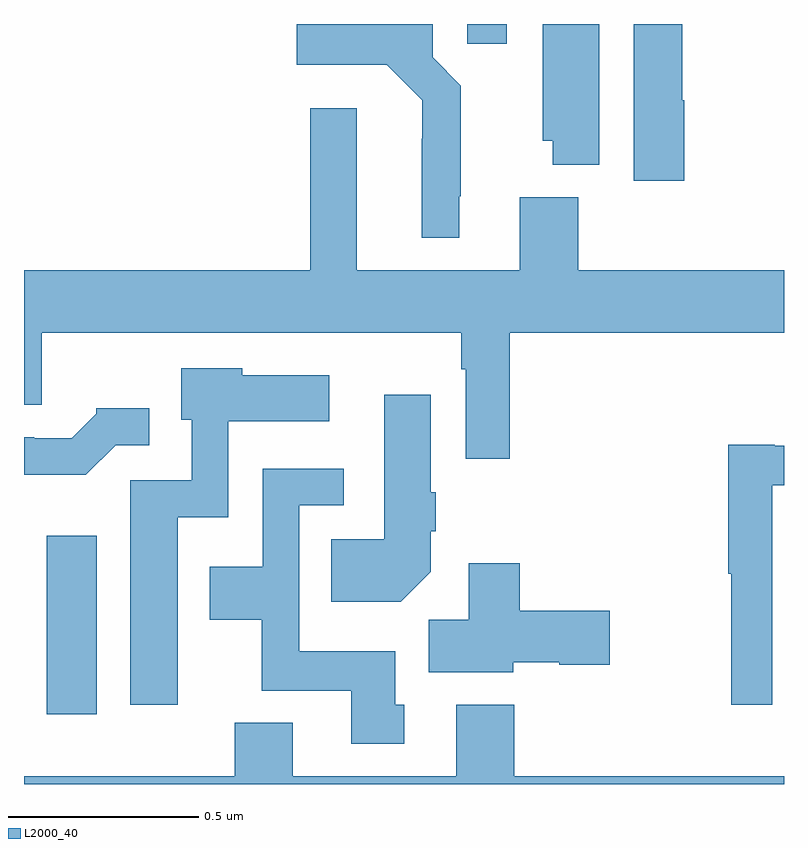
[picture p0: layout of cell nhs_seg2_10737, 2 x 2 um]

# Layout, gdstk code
import gdstk
lib = gdstk.Library(unit=1e-6, precision=1e-09)
def R(c, l, rs):  # rectangles x0, y0, x1, y1
    for r in rs: c.add(gdstk.rectangle(r[:2], r[2:], *l))
def P(c, l, *ps):  # polygons
    for p in ps: c.add(gdstk.Polygon(p, *l))
L2000_40 = (2000, 40)

nhs_seg2_10737 = lib.new_cell('nhs_seg2_10737')
R(nhs_seg2_10737, L2000_40, [(245.06,627.984,245.191,628.453), (246.167,629.748,246.271,629.8)])
P(nhs_seg2_10737, L2000_40, [(246.514,629.8),(246.365,629.8),(246.365,629.493),(246.392,629.493),(246.392,629.429),(246.514,629.429)],
  [(246.145,629.347),(246.149,629.347),(246.149,629.638),(246.075,629.712),(246.075,629.8),(245.718,629.8),(245.718,629.693),(245.955,629.693),(246.048,629.6),(246.048,629.498),(246.047,629.498),(246.047,629.237),(246.145,629.237)],
  [(246.737,629.6),(246.732,629.6),(246.732,629.8),(246.605,629.8),(246.605,629.388),(246.737,629.388)],
  [(246.278,628.988),(247,628.988),(247,629.152),(246.458,629.152),(246.458,629.344),(246.305,629.344),(246.305,629.152),(245.875,629.152),(245.875,629.578),(245.753,629.578),(245.753,629.152),(245,629.152),(245,628.798),(245.047,628.798),(245.047,628.988),(246.15,628.988),(246.15,628.892),(246.162,628.892),(246.162,628.656),(246.278,628.656)],
  [(245.404,628.502),(245.538,628.502),(245.538,628.754),(245.803,628.754),(245.803,628.876),(245.574,628.876),(245.574,628.894),(245.414,628.894),(245.414,628.758),(245.442,628.758),(245.442,628.599),(245.279,628.599),(245.279,628.008),(245.404,628.008)],
  [(246.07,628.358),(246.07,628.465),(246.083,628.465),(246.083,628.568),(246.07,628.568),(246.07,628.825),(245.948,628.825),(245.948,628.444),(245.809,628.444),(245.809,628.28),(245.992,628.28)],
  [(245.241,628.692),(245.329,628.692),(245.329,628.789),(245.19,628.789),(245.19,628.774),(245.126,628.71),(245.027,628.71),(245.027,628.713),(245,628.713),(245,628.614),(245.163,628.614)],
  [(246.969,628.586),(247,628.586),(247,628.69),(246.976,628.69),(246.976,628.693),(246.853,628.693),(246.853,628.353),(246.861,628.353),(246.861,628.008),(246.969,628.008)],
  [(246.001,628.008),(245.977,628.008),(245.977,628.15),(245.724,628.15),(245.724,628.533),(245.842,628.533),(245.842,628.629),(245.628,628.629),(245.628,628.372),(245.489,628.372),(245.489,628.232),(245.626,628.232),(245.626,628.046),(245.861,628.046),(245.861,627.906),(246.001,627.906)],
  [(246.288,628.121),(246.408,628.121),(246.408,628.114),(246.541,628.114),(246.541,628.256),(246.305,628.256),(246.305,628.381),(246.17,628.381),(246.17,628.232),(246.065,628.232),(246.065,628.094),(246.288,628.094)],
  [(247,627.82),(246.29,627.82),(246.29,628.009),(246.137,628.009),(246.137,627.82),(245.707,627.82),(245.707,627.961),(245.555,627.961),(245.555,627.82),(245,627.82),(245,627.8),(247,627.8)])

lib.write_gds('nhs_seg2_10737.gds')
